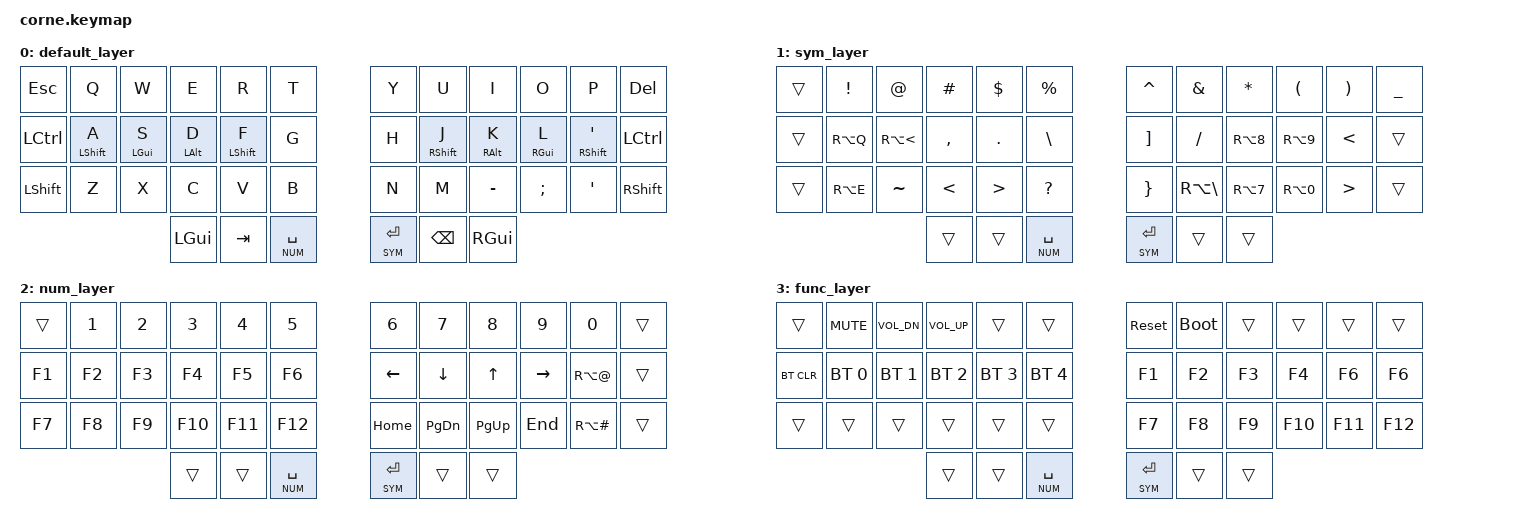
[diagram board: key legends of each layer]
/*
 * Copyright (c) 2020 The ZMK Contributors
 *
 * SPDX-License-Identifier: MIT
 */

#include <behaviors.dtsi>
#include <dt-bindings/zmk/bt.h>
#include <dt-bindings/zmk/keys.h>

// LAYERS

#define DEFAULT 0
#define NUM     1
#define SYM     2
#define FUNC    3

&lt {
    tapping-term-ms = <180>;
    quick_tap_ms = <0>;
    flavor = "tap-preferred";
};

&mt {
    tapping-term-ms = <180>;
    flavor = "hold-preferred";
};

/ {
    conditional_layers {
        compatible = "zmk,conditional-layers";

        tri_layer {
            if-layers = <1 2>;
            then-layer = <3>;
        };
    };

    keymap {
        compatible = "zmk,keymap";

        default_layer {
            // -----------------------------------------------------------------------------------------
            // | TAB |  Q  |  W  |  E   |  R   |  T  |   |  Y  |  U   |  I   |  O  |  P  | DEL  |
            // | ESC |  A  |  S  |  D   |  F   |  G  |   |  H  |  J   |  K   |  L  |  ;  | CTRL |
            // | GUI |  Z  |  X  |  C   |  V   |  B  |   |  N  |  M   |  ,   |  .  |  /  | SHIFT|
            //                   | LALT | SHFT | SPC |   | ENT | BSPC | RALT |

            bindings = <
&kp ESCAPE      &kp Q             &kp W           &kp E           &kp R             &kp T            &kp Y        &kp U              &kp I            &kp O            &kp P                    &kp DEL
&kp LCTRL       &mt LEFT_SHIFT A  &mt LEFT_GUI S  &mt LEFT_ALT D  &mt LEFT_SHIFT F  &kp G            &kp H        &mt RIGHT_SHIFT J  &mt RIGHT_ALT K  &mt RIGHT_GUI L  &mt RSHIFT SINGLE_QUOTE  &kp LCTRL
&kp LEFT_SHIFT  &kp Z             &kp X           &kp C           &kp V             &kp B            &kp N        &kp M              &kp MINUS        &kp SEMICOLON    &kp SINGLE_QUOTE         &kp RSHFT
                                                  &kp LEFT_GUI    &kp TAB           &lt NUM SPACE    &lt SYM RET  &kp BSPC           &kp RIGHT_GUI
            >;
        };

        sym_layer {
            // -----------------------------------------------------------------------------------------
            // | TAB |  1  |  2   |  3   |  4    |  5   |   |  6   |  7    |  8     |  9    |  0    | DEL |
            // | ESC | INS | HOME | UP   | END   | PGUP |   | PLUS | MINUS |  ASTRK | SLASH | EQUAL | LCTRL |
            // | GUI | DEL | LEFT | DOWN | RIGHT | PGDN |   |   '  |       | COMMA  | DOT   |       | SHIFT  |
            //                    | LALT | SHFT | SPC |     | ENT  | BSPC  | RALT   |

            bindings = <
&trans  &kp EXCLAMATION  &kp AT_SIGN        &kp HASH       &kp DOLLAR        &kp PERCENT      &kp CARET          &kp AMPERSAND      &kp ASTERISK      &kp LEFT_PARENTHESIS  &kp RIGHT_PARENTHESIS  &kp UNDER
&trans  &kp RA(Q)        &kp RA(LESS_THAN)  &kp COMMA      &kp PERIOD        &kp BACKSLASH    &kp RIGHT_BRACKET  &kp SLASH          &kp RA(NUMBER_8)  &kp RA(NUMBER_9)      &kp LT                 &trans
&trans  &kp RA(E)        &kp TILDE          &kp LESS_THAN  &kp GREATER_THAN  &kp QUESTION     &kp RIGHT_BRACE    &kp RA(BACKSLASH)  &kp RA(NUMBER_7)  &kp RA(NUMBER_0)      &kp GT                 &trans
                                            &trans         &trans            &lt NUM SPACE    &lt SYM RET        &trans             &trans
            >;
        };

        num_layer {
            // -----------------------------------------------------------------------------------------
            // | TAB |  !  |  @  |  #  |  $  |  %  |   |  ^  |  &  |  *  |  (  |  )  | DEL |
            // | ESC |     |     |     |     |     |   |  -  |  =  |  \  |  [  |  ]  |  `   |
            // | GUI |     |     |     |     |     |   |  _  |  +  | "|" |  {  |  }  |  ~   |
            //                   | LALT | SHFT | SPC |   | ENT | BSPC | RALT |

            bindings = <
&trans  &kp NUMBER_1  &kp NUMBER_2  &kp NUMBER_3  &kp NUMBER_4  &kp NUMBER_5     &kp NUMBER_6  &kp NUMBER_7    &kp NUMBER_8  &kp NUMBER_9  &kp NUMBER_0  &trans
&kp F1  &kp F2        &kp F3        &kp F4        &kp F5        &kp F6           &kp LEFT      &kp DOWN_ARROW  &kp UP        &kp RIGHT     &kp RA(AT)    &trans
&kp F7  &kp F8        &kp F9        &kp F10       &kp F11       &kp F12          &kp HOME      &kp PAGE_DOWN   &kp PAGE_UP   &kp END       &kp RA(HASH)  &trans
                                    &trans        &trans        &lt NUM SPACE    &lt SYM RET   &trans          &trans
            >;
        };

        func_layer {
            // -----------------------------------------------------------------------------------------
            // |       | Mute| Vol-| Vol+ |      |     |   | RESET| FLASH |     |     |     | C A Del |
            // | BTCrl | BT1 | BT2 | BT3  | BT4  | BT5 |   | F1   | F2    | F3  | F4  | F5  | F6      |
            // |       |     |     |      |      |     |   | F7   | F7    | F9  | F10 | F11 | F12     |
            //                     | LALT | SHFT | SPC |   | ENT | BSPC | RALT |

            bindings = <
&trans      &kp K_MUTE    &kp K_VOL_DN  &kp K_VOL_UP  &trans        &trans           &sys_reset   &bootloader  &trans  &trans   &trans   &trans
&bt BT_CLR  &bt BT_SEL 0  &bt BT_SEL 1  &bt BT_SEL 2  &bt BT_SEL 3  &bt BT_SEL 4     &kp F1       &kp F2       &kp F3  &kp F4   &kp F6   &kp F6
&trans      &trans        &trans        &trans        &trans        &trans           &kp F7       &kp F8       &kp F9  &kp F10  &kp F11  &kp F12
                                        &trans        &trans        &lt NUM SPACE    &lt SYM RET  &trans       &trans
            >;
        };
    };
};
